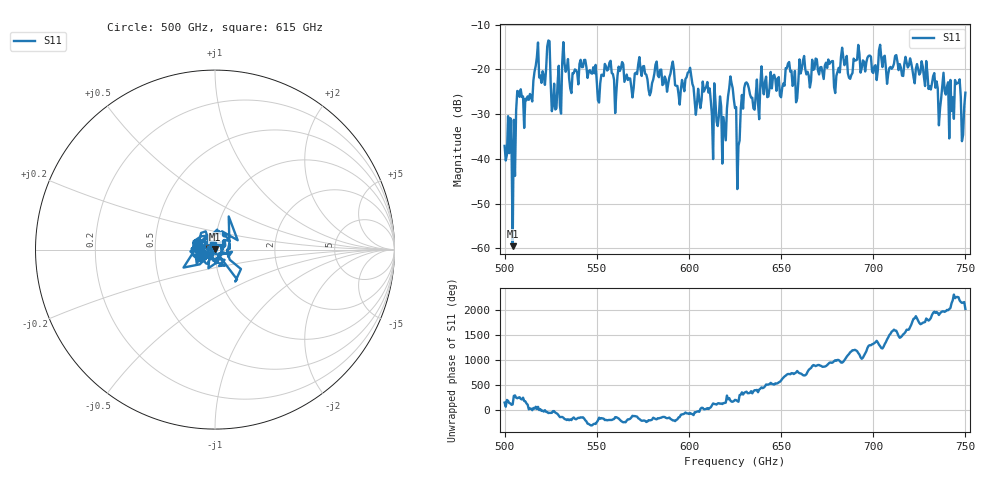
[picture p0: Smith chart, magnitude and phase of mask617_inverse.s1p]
!Created with skrf (http://scikit-rf.org).
# GHz S MA R 50.0
!freq magS11 angS11
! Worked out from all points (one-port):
!   401 points, 500 GHz to 750 GHz, reference 50 ohm
!   lowest |S11| = -59.5 dB at 504.4 GHz (marker M1), VSWR 1.00, Z = 50 + j0.096 ohm
!   |S11| at or under -10 dB: start of sweep to end of sweep
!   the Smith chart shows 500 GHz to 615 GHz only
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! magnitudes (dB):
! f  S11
! 500 GHz  -37.1
! 502.5 GHz  -38.7
! 504.4 GHz  -59.5
! 507.5 GHz  -25.0
! 511.9 GHz  -26.9
! 516.9 GHz  -19.2
! 520.6 GHz  -20.4
! 523.8 GHz  -13.5
! 526.9 GHz  -23.2
! 531.2 GHz  -18.5
! 562.5 GHz  -20.4
! 579.4 GHz  -25.0
! 590.6 GHz  -19.4
! 593.8 GHz  -23.7
! 610 GHz  -22.8
! 619.4 GHz  -33.2
! 622.5 GHz  -21.6
! 625 GHz  -28.7
! 627.5 GHz  -35.9
! 631.2 GHz  -22.9
! 636.9 GHz  -22.3
! 656.2 GHz  -23.7
! 680 GHz  -21.4
! 684.4 GHz  -19.0
! 687.5 GHz  -22.1
! 691.2 GHz  -17.8
! 718.8 GHz  -19.6
! 750 GHz  -25.2
